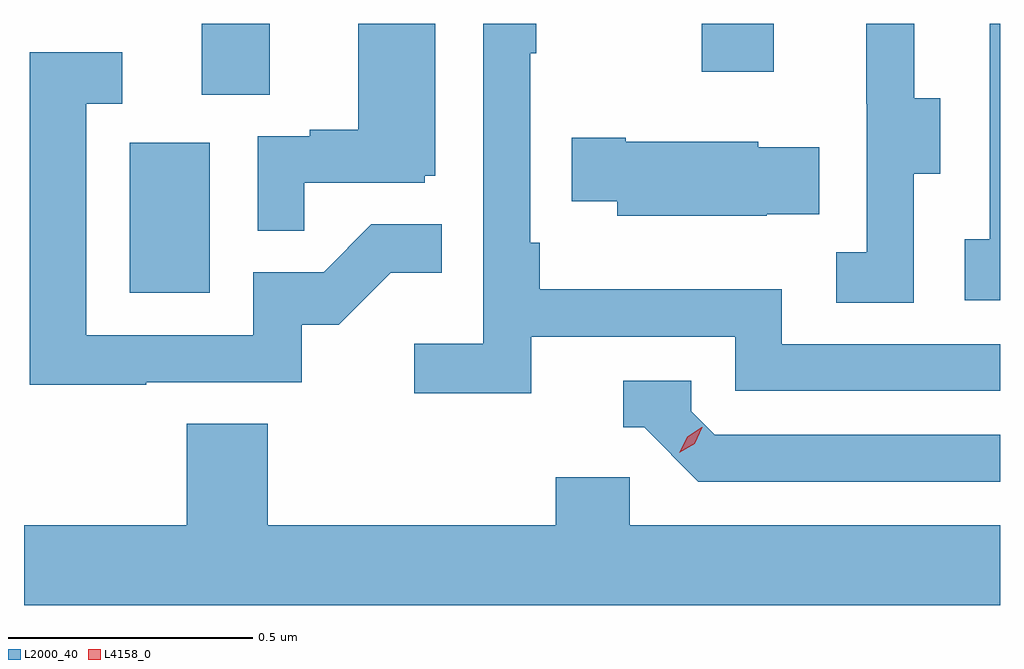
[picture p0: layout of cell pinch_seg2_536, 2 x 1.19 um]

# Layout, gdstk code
import gdstk
lib = gdstk.Library(unit=1e-6, precision=1e-09)
def R(c, l, rs):  # rectangles x0, y0, x1, y1
    for r in rs: c.add(gdstk.rectangle(r[:2], r[2:], *l))
def P(c, l, *ps):  # polygons
    for p in ps: c.add(gdstk.Polygon(p, *l))
L2000_40 = (2000, 40)
L4158_0 = (4158, 0)

pinch_seg2_536 = lib.new_cell('pinch_seg2_536')
R(pinch_seg2_536, L2000_40, [(1008.476,602.988,1008.64,603.295), (1008.623,603.394,1008.763,603.539), (1009.648,603.441,1009.795,603.539)])
P(pinch_seg2_536, L2000_40, [(1010.082,603.232),(1010.137,603.232),(1010.137,603.387),(1010.083,603.387),(1010.083,603.539),(1009.985,603.539),(1009.985,603.375),(1009.986,603.375),(1009.986,603.071),(1009.923,603.071),(1009.923,602.968),(1010.082,602.968)],
  [(1008.833,603.213),(1009.08,603.213),(1009.08,603.228),(1009.102,603.228),(1009.102,603.539),(1008.944,603.539),(1008.944,603.322),(1008.845,603.322),(1008.845,603.309),(1008.738,603.309),(1008.738,603.115),(1008.833,603.115)],
  [(1009.298,602.898),(1009.716,602.898),(1009.716,602.787),(1010.259,602.787),(1010.259,602.883),(1009.812,602.883),(1009.812,602.995),(1009.316,602.995),(1009.316,603.091),(1009.296,603.091),(1009.296,603.479),(1009.309,603.479),(1009.309,603.539),(1009.2,603.539),(1009.2,602.884),(1009.059,602.884),(1009.059,602.782),(1009.298,602.782)],
  [(1010.259,603.539),(1010.238,603.539),(1010.238,603.098),(1010.187,603.098),(1010.187,602.973),(1010.259,602.973)],
  [(1008.509,602.805),(1008.828,602.805),(1008.828,602.922),(1008.904,602.922),(1009.011,603.029),(1009.115,603.029),(1009.115,603.128),(1008.971,603.128),(1008.873,603.03),(1008.729,603.03),(1008.729,602.901),(1008.387,602.901),(1008.387,603.375),(1008.46,603.375),(1008.46,603.481),(1008.271,603.481),(1008.271,602.8),(1008.509,602.8)],
  [(1009.781,603.149),(1009.889,603.149),(1009.889,603.286),(1009.764,603.286),(1009.764,603.298),(1009.492,603.298),(1009.492,603.306),(1009.381,603.306),(1009.381,603.176),(1009.475,603.176),(1009.475,603.146),(1009.781,603.146)],
  [(1010.259,602.697),(1009.674,602.697),(1009.626,602.745),(1009.626,602.808),(1009.487,602.808),(1009.487,602.712),(1009.53,602.712),(1009.641,602.601),(1010.259,602.601)],
  [(1010.259,602.512),(1009.5,602.512),(1009.5,602.61),(1009.349,602.61),(1009.349,602.512),(1008.758,602.512),(1008.758,602.72),(1008.593,602.72),(1008.593,602.512),(1008.259,602.512),(1008.259,602.348),(1010.259,602.348)])
P(pinch_seg2_536, L4158_0, [(1009.602,602.66),(1009.602,602.66),(1009.618,602.693),(1009.648,602.712),(1009.649,602.712),(1009.649,602.712),(1009.633,602.679),(1009.602,602.66)])

lib.write_gds('pinch_seg2_536.gds')
